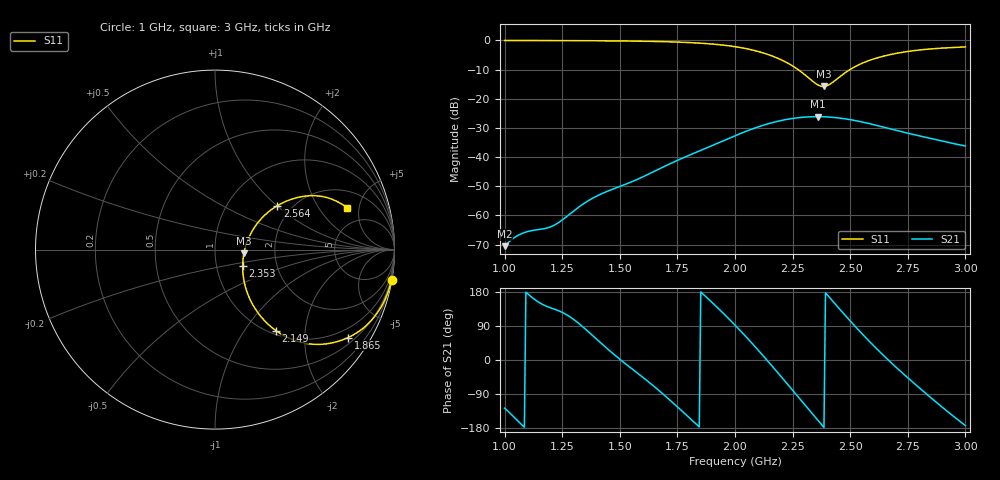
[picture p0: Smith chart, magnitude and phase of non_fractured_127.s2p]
! TOUCHSTONE file generated by CST MICROWAVE STUDIO
! Date and time: Sat Mar  8 13:54:50 2025
! Project name: non_fractured.cst
! Parameters = {B=2.5; D=160; F=15; Feed=2.85625; L=100; M=10; R=0.384908; S=2.5; Theta=180; length=57.125; wave=114.25}
! Header version: 2024
! Port assignment regex: !\s*Touchstone port\s*([0-9]+)\s*=\s*(CST MWS port|CST DES external port|CST DES block port)\s*(.+)\s* \(\"(.*)\"\)(\s*mode\s*([0-9]+))?.*
! Touchstone port assignment:
! Touchstone port 1 = CST MWS port 1 ("")
! Touchstone port 2 = CST MWS port 2 ("")
# GHz S DB R 50
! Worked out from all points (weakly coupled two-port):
!   304 points, 1 GHz to 3 GHz, reference 50 ohm
!   highest |S21| = -26.14 dB at 2.36 GHz (marker M1); lowest = -70.5 dB at 1 GHz (marker M2)
!   lowest |S11| = -15.8 dB at 2.386 GHz (marker M3), VSWR 1.39, Z = 69.1 - j2.94 ohm
!   |S11| at or under -10 dB: 2.274 GHz to 2.499 GHz (225.1 MHz wide, 9.43 % of centre)
!   S12 and S22 are empty: the file has one direction only
!   S11 on the Smith chart (normalised r, x): 1 GHz: 0, -12; 1.865 GHz: 0.69, -3.19; 2.149 GHz: 1.06, -1.41; 2.353 GHz: 1.34, -0.25; 2.564 GHz: 1.69, +1.01; 3 GHz: 3.25, +3.77
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1  -0.02 -9.8  -70.54 -127.0  -200.00 0.0  -200.00 0.0
1.033  -0.02 -10.2  -68.12 -145.9  -200.00 0.0  -200.00 0.0
1.07261  -0.03 -10.8  -66.28 -169.7  -200.00 0.0  -200.00 0.0
1.21782  -0.05 -13.0  -63.24 133.8  -200.00 0.0  -200.00 0.0
1.33663  -0.09 -15.2  -56.31 89.0  -200.00 0.0  -200.00 0.0
1.41584  -0.12 -16.9  -52.75 45.9  -200.00 0.0  -200.00 0.0
1.66667  -0.38 -24.2  -44.23 -78.9  -200.00 0.0  -200.00 0.0
1.86469  -1.03 -33.5  -37.25 172.2  -200.00 0.0  -200.00 0.0
2.0033  -2.18 -42.8  -32.59 90.0  -200.00 0.0  -200.00 0.0
2.07591  -3.30 -48.2  -30.33 42.8  -200.00 0.0  -200.00 0.0
2.14851  -4.98 -53.1  -28.47 -7.1  -200.00 0.0  -200.00 0.0
2.24752  -8.63 -55.6  -26.78 -77.9  -200.00 0.0  -200.00 0.0
2.33993  -14.18 -37.6  -26.16 -144.7  -200.00 0.0  -200.00 0.0
2.35314  -14.95 -30.5  -26.14 -154.2  -200.00 0.0  -200.00 0.0
2.35974  -15.26 -26.4  -26.14 -159.0  -200.00 0.0  -200.00 0.0
2.38614  -15.79 -7.3  -26.19 -177.9  -200.00 0.0  -200.00 0.0
2.41254  -14.98 10.7  -26.30 163.4  -200.00 0.0  -200.00 0.0
2.47855  -11.06 32.0  -26.89 117.6  -200.00 0.0  -200.00 0.0
2.56436  -7.42 35.1  -28.18 61.0  -200.00 0.0  -200.00 0.0
2.66997  -4.93 31.4  -30.24 -2.7  -200.00 0.0  -200.00 0.0
2.82838  -3.06 23.8  -33.24 -88.3  -200.00 0.0  -200.00 0.0
3  -2.24 17.6  -36.20 -173.2  -200.00 0.0  -200.00 0.0
